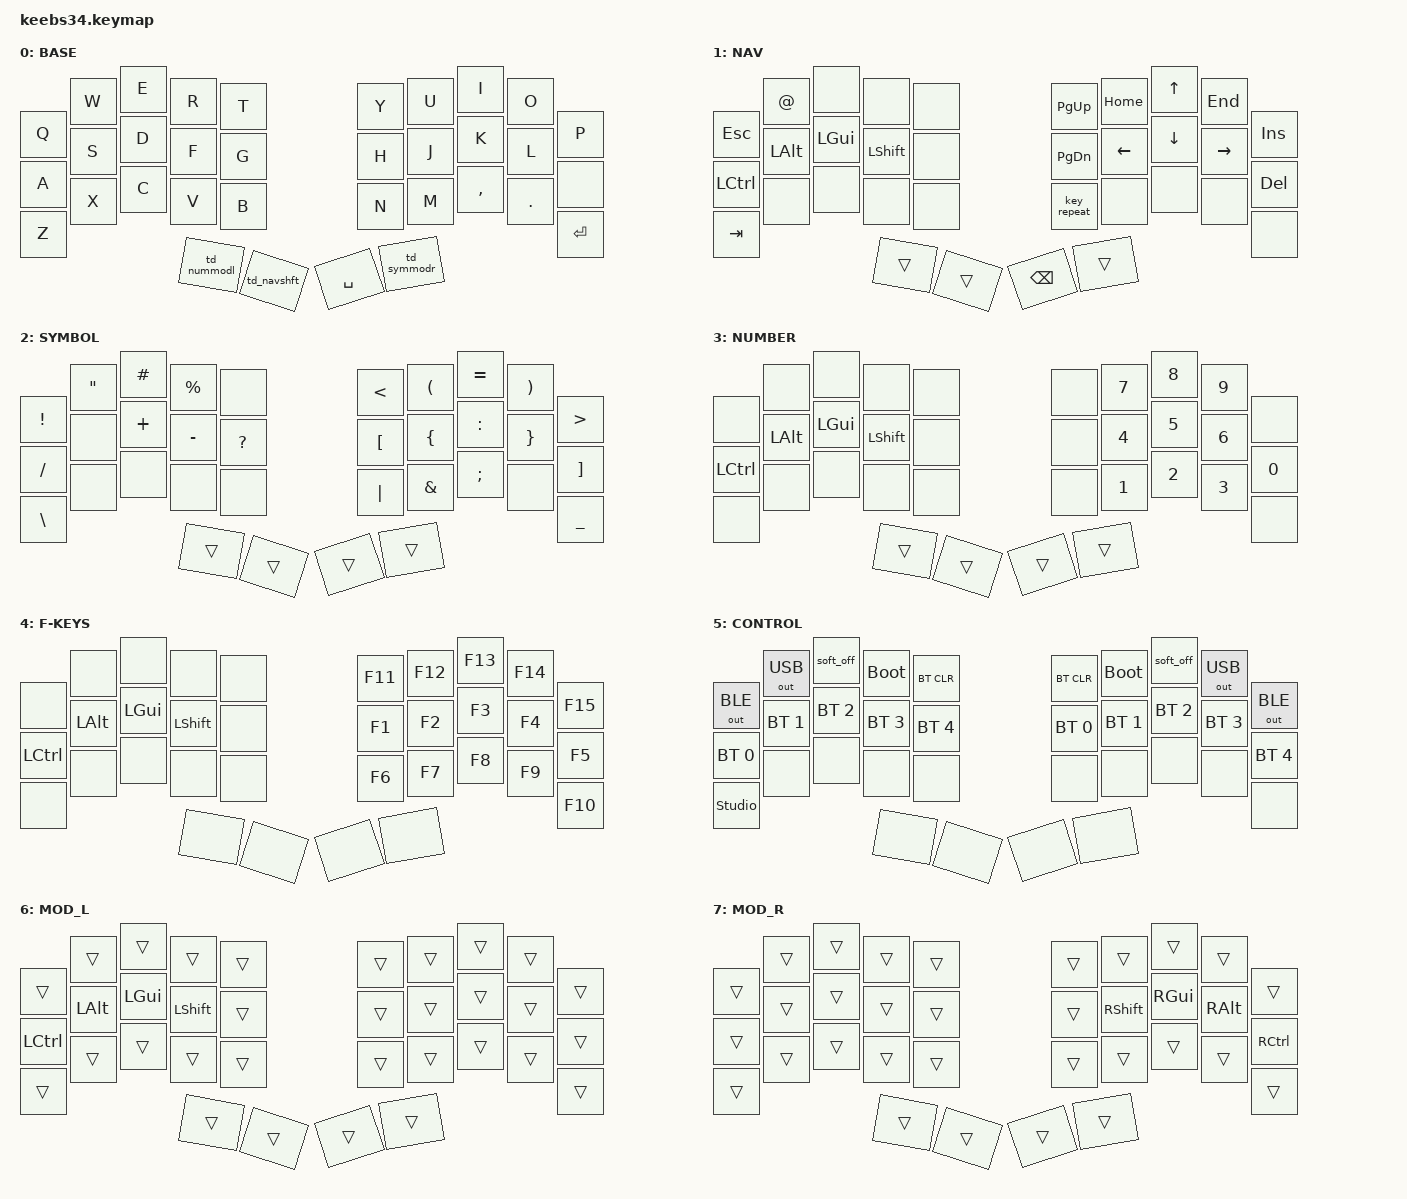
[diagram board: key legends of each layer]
#include <behaviors.dtsi>
#include <dt-bindings/zmk/bt.h>
#include <dt-bindings/zmk/keys.h>
#include <dt-bindings/zmk/outputs.h>

#define BASE     0
#define NAV      1
#define SYMBOLS  2
#define NUMBERS  3
#define FUNCTION 4
#define CONTROL  5
#define MOD_L    6 
#define MOD_R    7

/ {
    behaviors {
        td_navshft: td_navshft {
            compatible = "zmk,behavior-tap-dance";
            #binding-cells = <0>;
            tapping-term-ms = <400>;
            bindings = <&mo NAV>, <&kp LSHIFT>;
        };

        td_nummodl: td_nummodl {
            compatible = "zmk,behavior-tap-dance";
            #binding-cells = <0>;
            tapping-term-ms = <400>;
            bindings = <&mo NUMBERS>, <&mo MOD_L>, <&mo CONTROL>;
        };

        td_symmodr: td_symmodr {
            compatible = "zmk,behavior-tap-dance";
            #binding-cells = <0>;
            tapping-term-ms = <400>;
            bindings = <&mo SYMBOLS>, <&mo MOD_R>, <&mo FUNCTION>;
        };
    };

    conditional_layers {
        compatible = "zmk,conditional-layers";

        SYMBOL {
            if-layers = <NUMBERS SYMBOLS>;
            then-layer = <FUNCTION>;
        };
    };

    keymap {
        compatible = "zmk,keymap";

        base {
            display-name = "BASE";
            bindings = <
&kp Q  &kp W  &kp E  &kp R           &kp T       &kp Y      &kp U      &kp I      &kp O       &kp P
&kp A  &kp S  &kp D  &kp F           &kp G       &kp H      &kp J      &kp K      &kp L       &none
&kp Z  &kp X  &kp C  &kp V           &kp B       &kp N      &kp M      &kp COMMA  &kp PERIOD  &kp ENTER
                     &td_nummodl        &td_navshft     &kp SPACE  &td_symmodr
            >;
        };

        navigation {
            display-name = "NAV";
            bindings = <
&kp ESC           &kp AT        &none         &none           &none     &kp PAGE_UP    &kp HOME  &kp UP    &kp END    &kp INSERT
&kp LEFT_CONTROL  &kp LEFT_ALT  &kp LEFT_GUI  &kp LEFT_SHIFT  &none     &kp PG_DN      &kp LEFT  &kp DOWN  &kp RIGHT  &kp DELETE
&kp TAB           &none         &none         &none           &none     &key_repeat    &none     &none     &none      &none
                                              &trans          &trans    &kp BACKSPACE  &trans
            >;
        };

        symbols {
            display-name = "SYMBOL";
            bindings = <
&kp EXCLAMATION  &kp DOUBLE_QUOTES  &kp HASH  &kp PERCENT  &none           &kp LESS_THAN     &kp LEFT_PARENTHESIS  &kp EQUAL      &kp RIGHT_PARENTHESIS  &kp GREATER_THAN
&kp SLASH        &none              &kp PLUS  &kp MINUS    &kp QUESTION    &kp LEFT_BRACKET  &kp LEFT_BRACE        &kp COLON      &kp RIGHT_BRACE        &kp RIGHT_BRACKET
&kp BACKSLASH    &none              &none     &none        &none           &kp PIPE          &kp AMPERSAND         &kp SEMICOLON  &none                  &kp UNDERSCORE
                                              &trans       &trans          &trans            &trans
            >;
        };

        numbers {
            display-name = "NUMBER";
            bindings = <
&none             &none     &none         &none       &none     &none  &kp NUMBER_7  &kp NUMBER_8  &kp NUMBER_9  &none
&kp LEFT_CONTROL  &kp LALT  &kp LEFT_GUI  &kp LSHIFT  &none     &none  &kp NUMBER_4  &kp NUMBER_5  &kp NUMBER_6  &kp NUMBER_0
&none             &none     &none         &none       &none     &none  &kp NUMBER_1  &kp NUMBER_2  &kp NUMBER_3  &none
                                          &trans      &trans    &trans  &trans
            >;
        };

        function {
            display-name = "F-KEYS";
            bindings = <
&none             &none     &none         &none       &none    &kp F11  &kp F12  &kp F13  &kp F14  &kp F15
&kp LEFT_CONTROL  &kp LALT  &kp LEFT_GUI  &kp LSHIFT  &none    &kp F1   &kp F2   &kp F3   &kp F4   &kp F5
&none             &none     &none         &none       &none    &kp F6   &kp F7   &kp F8   &kp F9   &kp F10
                                          &none       &none    &none    &none
            >;
        };

        control {
            display-name = "CONTROL";
            bindings = <
&out OUT_BLE  &out OUT_USB  &soft_off     &bootloader   &bt BT_CLR      &bt BT_CLR    &bootloader   &soft_off     &out OUT_USB  &out OUT_BLE
&bt BT_SEL 0  &bt BT_SEL 1  &bt BT_SEL 2  &bt BT_SEL 3  &bt BT_SEL 4    &bt BT_SEL 0  &bt BT_SEL 1  &bt BT_SEL 2  &bt BT_SEL 3  &bt BT_SEL 4
&studio_unlock         &none         &none         &none         &none           &none         &none         &none         &none         &none
                                          &none         &none           &none         &none
            >;
        };

        mod_left {
            display-name = "MOD_L";
            bindings = <
&trans            &trans        &trans        &trans          &trans    &trans  &trans  &trans  &trans  &trans
&kp LEFT_CONTROL  &kp LEFT_ALT  &kp LEFT_GUI  &kp LEFT_SHIFT  &trans    &trans  &trans  &trans  &trans  &trans
&trans            &trans        &trans        &trans          &trans    &trans  &trans  &trans  &trans  &trans
                                              &trans          &trans    &trans  &trans
            >;
        };

        mod_right {
            display-name = "MOD_R";
            bindings = <
&trans  &trans  &trans  &trans  &trans    &trans  &trans           &trans         &trans         &trans
&trans  &trans  &trans  &trans  &trans    &trans  &kp RIGHT_SHIFT  &kp RIGHT_GUI  &kp RIGHT_ALT  &kp RIGHT_CONTROL
&trans  &trans  &trans  &trans  &trans    &trans  &trans           &trans         &trans         &trans
                        &trans  &trans    &trans  &trans
            >;
        };
    };
};
